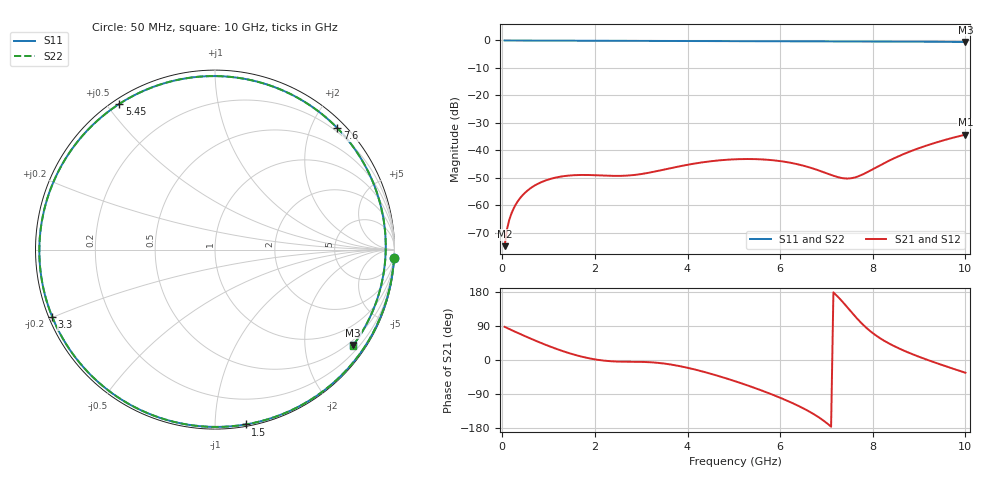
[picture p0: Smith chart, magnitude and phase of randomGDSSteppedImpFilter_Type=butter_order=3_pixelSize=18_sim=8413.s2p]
! freq	dB(S11)	phase(S11)	dB(S12)	phase(S12)
!  dB(S21)	phase(S21)	dB(S22)	phase(S22)
!S-par simulation data
#  GHz  S  DB  R 50
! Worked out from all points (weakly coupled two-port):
!   200 points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, 50 MHz to 10 GHz, reference 50 ohm
!   highest |S21| = -34.23 dB at 10 GHz (marker M1); lowest = -74.8 dB at 50 MHz (marker M2)
!   lowest |S11| = -0.6 dB at 10 GHz (marker M3), VSWR 30.32, Z = 18.4 - j159 ohm
!   |S11| at or under -10 dB: nowhere
!   |S22| runs from -0.6 to 0.0 dB; largest |S21 - S12| = 0
!   S11 on the Smith chart (normalised r, x): 50 MHz: 1, -42; 1.5 GHz: 0.01, -1.19; 3.3 GHz: 0.01, -0.20; 5.45 GHz: 0.02, +0.54; 7.6 GHz: 0.14, +2.42; 10 GHz: 0.37, -3.17
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0.05  -0.01 -2.7  -74.79 87.6  -74.79 87.6  -0.01 -2.7
0.1  -0.02 -5.5  -68.77 84.6  -68.77 84.6  -0.02 -5.5
0.2  -0.03 -11.1  -62.80 78.9  -62.80 78.9  -0.03 -11.1
0.45  -0.04 -25.1  -56.06 65.1  -56.06 65.1  -0.04 -25.1
0.7  -0.05 -38.8  -52.74 51.8  -52.74 51.8  -0.05 -38.8
1  -0.07 -54.8  -50.54 37.0  -50.54 37.0  -0.07 -54.8
1.5  -0.10 -80.1  -49.04 16.0  -49.04 16.0  -0.10 -80.1
1.75  -0.11 -92.1  -48.90 7.8  -48.90 7.8  -0.11 -92.1
2.15  -0.12 -110.3  -49.10 -1.0  -49.10 -1.0  -0.12 -110.3
2.55  -0.14 -127.5  -49.24 -4.3  -49.24 -4.3  -0.14 -127.5
3.3  -0.16 -157.6  -47.64 -6.8  -47.64 -6.8  -0.16 -157.6
3.4  -0.17 -161.4  -47.28 -8.0  -47.28 -8.0  -0.17 -161.5
4.2  -0.20 168.7  -44.63 -26.4  -44.63 -26.4  -0.20 168.6
5.05  -0.24 137.8  -43.19 -56.9  -43.19 -56.9  -0.24 137.7
5.45  -0.25 123.3  -43.14 -73.7  -43.14 -73.7  -0.25 123.1
6.1  -0.28 99.6  -44.11 -104.7  -44.11 -104.7  -0.28 99.4
6.7  -0.31 77.6  -46.50 -141.0  -46.50 -141.0  -0.31 77.3
7.3  -0.33 55.6  -49.91 160.0  -49.91 160.0  -0.33 55.3
7.6  -0.35 44.8  -49.87 117.8  -49.87 117.8  -0.35 44.4
8.35  -0.39 18.3  -43.73 43.7  -43.73 43.7  -0.39 17.9
9.15  -0.46 -8.4  -38.27 1.7  -38.27 1.7  -0.46 -8.8
10  -0.57 -34.6  -34.23 -33.6  -34.23 -33.6  -0.57 -35.0
